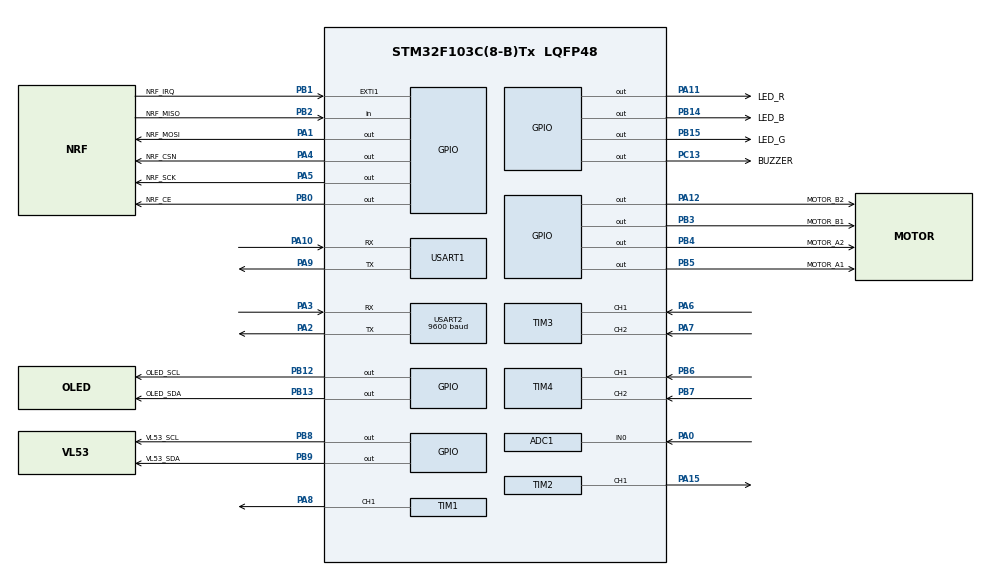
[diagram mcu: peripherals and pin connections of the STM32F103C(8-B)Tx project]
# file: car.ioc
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ADC1.Channel-0\#ChannelRegularConversion=ADC_CHANNEL_0
ADC1.NbrOfConversionFlag=1
ADC1.Rank-0\#ChannelRegularConversion=1
ADC1.SamplingTime-0\#ChannelRegularConversion=ADC_SAMPLETIME_1CYCLE_5
ADC1.master=1
Mcu.Family=STM32F1
Mcu.Name=STM32F103C(8-B)Tx
Mcu.Package=LQFP48
NVIC.EXTI1_IRQn=true\:0\:0\:false\:false\:true\:true\:true\:true
NVIC.PriorityGroup=NVIC_PRIORITYGROUP_4
NVIC.TIM1_UP_IRQn=true\:1\:0\:true\:false\:true\:true\:true\:true
NVIC.TIM3_IRQn=true\:0\:0\:false\:false\:true\:true\:true\:true
NVIC.TIM4_IRQn=true\:0\:0\:false\:false\:true\:true\:true\:true
NVIC.USART1_IRQn=true\:0\:0\:false\:false\:true\:true\:true\:true
NVIC.USART2_IRQn=true\:0\:0\:true\:false\:true\:true\:true\:true
PA0-WKUP.Signal=ADCx_IN0
PA1.GPIO_Label=NRF_MOSI
PA1.Signal=GPIO_Output
PA10.Mode=Asynchronous
PA10.Signal=USART1_RX
PA11.GPIO_Label=LED_R
PA11.Signal=GPIO_Output
PA12.GPIO_Label=MOTOR_B2
PA12.Signal=GPIO_Output
PA13.Mode=Serial_Wire
PA13.Signal=SYS_JTMS-SWDIO
PA14.Mode=Serial_Wire
PA14.Signal=SYS_JTCK-SWCLK
PA15.Signal=S_TIM2_CH1_ETR
PA2.Mode=Asynchronous
PA2.Signal=USART2_TX
PA3.Mode=Asynchronous
PA3.Signal=USART2_RX
PA4.GPIO_Label=NRF_CSN
PA4.Signal=GPIO_Output
PA5.GPIO_Label=NRF_SCK
PA5.Signal=GPIO_Output
PA6.Signal=S_TIM3_CH1
PA7.Signal=S_TIM3_CH2
PA8.Signal=S_TIM1_CH1
PA9.Mode=Asynchronous
PA9.Signal=USART1_TX
PB0.GPIO_Label=NRF_CE
PB0.Signal=GPIO_Output
PB1.GPIO_Label=NRF_IRQ
PB1.Signal=GPXTI1
PB12.GPIO_Label=OLED_SCL
PB12.Signal=GPIO_Output
PB13.GPIO_Label=OLED_SDA
PB13.Signal=GPIO_Output
PB14.GPIO_Label=LED_B
PB14.Signal=GPIO_Output
PB15.GPIO_Label=LED_G
PB15.Signal=GPIO_Output
PB2.GPIO_Label=NRF_MISO
PB2.GPIO_PuPd=GPIO_PULLUP
PB2.Signal=GPIO_Input
PB3.GPIO_Label=MOTOR_B1
PB3.Signal=GPIO_Output
PB4.GPIO_Label=MOTOR_A2
PB4.Signal=GPIO_Output
PB5.GPIO_Label=MOTOR_A1
PB5.Signal=GPIO_Output
PB6.Signal=S_TIM4_CH1
PB7.Signal=S_TIM4_CH2
PB8.GPIO_Label=VL53_SCL
PB8.GPIO_ModeDefaultOutputPP=GPIO_MODE_OUTPUT_OD
PB8.GPIO_PuPd=GPIO_PULLUP
PB8.Signal=GPIO_Output
PB9.GPIO_Label=VL53_SDA
PB9.GPIO_ModeDefaultOutputPP=GPIO_MODE_OUTPUT_OD
PB9.GPIO_PuPd=GPIO_PULLUP
PB9.Signal=GPIO_Output
PC13-TAMPER-RTC.GPIO_Label=BUZZER
PC13-TAMPER-RTC.Signal=GPIO_Output
PD0-OSC_IN.Mode=HSE-External-Oscillator
PD0-OSC_IN.Signal=RCC_OSC_IN
PD1-OSC_OUT.Mode=HSE-External-Oscillator
PD1-OSC_OUT.Signal=RCC_OSC_OUT
ProjectManager.HeapSize=0x200
ProjectManager.StackSize=0x400
ProjectManager.TargetToolchain=MDK-ARM V5.32
RCC.APB1Freq_Value=8000000
RCC.APB2Freq_Value=8000000
RCC.RTCClockSelection=RCC_RTCCLKSOURCE_LSE
SH.ADCx_IN0.0=ADC1_IN0,IN0
SH.S_TIM1_CH1.0=TIM1_CH1,PWM Generation1 CH1
SH.S_TIM2_CH1_ETR.0=TIM2_CH1,PWM Generation1 CH1
SH.S_TIM3_CH1.0=TIM3_CH1,Encoder_Interface
SH.S_TIM3_CH2.0=TIM3_CH2,Encoder_Interface
SH.S_TIM4_CH1.0=TIM4_CH1,Encoder_Interface
SH.S_TIM4_CH2.0=TIM4_CH2,Encoder_Interface
TIM1.Channel-PWM\ Generation1\ CH1=TIM_CHANNEL_1
TIM1.Period=1000
TIM1.Prescaler=8
TIM1.Pulse-PWM\ Generation1\ CH1=500
TIM2.Channel-PWM\ Generation1\ CH1=TIM_CHANNEL_1
TIM2.Period=1000
TIM2.Prescaler=8
TIM2.Pulse-PWM\ Generation1\ CH1=500
TIM3.EncoderMode=TIM_ENCODERMODE_TI12
TIM4.EncoderMode=TIM_ENCODERMODE_TI12
TIM4.IC1Polarity=TIM_ICPOLARITY_FALLING
TIM4.IC2Polarity=TIM_ICPOLARITY_RISING
USART1.VirtualMode=VM_ASYNC
USART2.BaudRate=9600
USART2.VirtualMode=VM_ASYNC
VP_TIM1_VS_ClockSourceINT.Mode=Internal
VP_TIM2_VS_ClockSourceINT.Mode=Internal
board=custom

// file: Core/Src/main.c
/* USER CODE BEGIN Header */
/**
 ******************************************************************************
 * @file           : main.c
 * @brief          : Main program body
 ******************************************************************************
 * @attention
 *
 * Copyright (c) 2026 STMicroelectronics.
 * All rights reserved.
 *
 * This software is licensed under terms that can be found in the LICENSE file
 * in the root directory of this software component.
 * If no LICENSE file comes with this software, it is provided AS-IS.
 *
 ******************************************************************************
 */
/* USER CODE END Header */
#include "main.h"
#include "adc.h"
#include "tim.h"
#include "usart.h"
#include "gpio.h"

/* USER CODE BEGIN Includes */
#include "system.h"
/* USER CODE END Includes */

void SystemClock_Config(void);

/* USER CODE BEGIN 0 */

uint32_t ms_cnt = 0;

/**
 * @brief 各个时间点的定时执行函数
 */
void time_1ms_function()
{
  buzzer_process();
}
void time_10ms_function()
{
  position_10ms_process();
}
void time_100ms_function()
{
}
void time_1s_function()
{
}
void HAL_TIM_PeriodElapsedCallback(TIM_HandleTypeDef *htim)
{
  if (htim->Instance == TIM1)
  {
    ms_cnt++;
    time_1ms_function();
    if (ms_cnt % 10 == 0)
    {
      time_10ms_function();
    }
    if (ms_cnt % 100 == 0)
    {
      time_100ms_function();
    }
    if (ms_cnt == 1000) // 最开始写成了“ ms_cnt = 1000 ”导致if一直被执行，ms_cnt一直被自动赋值为0
    {
      time_1s_function();
      ms_cnt = 0;
    }
  }
}

/**
 * @brief 串口中断函数
 */
void HAL_UART_RxCpltCallback(UART_HandleTypeDef *huart)
{
  if (huart == &huart2)
  {
    MPU_UART_Receive();
  }
  else if (huart == &huart1)
  {
    uart1_receivce();
  }
}

/**
 * @brief 各个时间点的定时执行函数
 * @param num 需要记录第几个函数的执行时间
 */
void caculate_tick(int num)
{
  static uint32_t last_time = 0;
  uint32_t current_time = HAL_GetTick();

  if (num == 0)
  {
    // 第一个任务：从循环开始到第一个任务结束的时间
    main_during_tick[0] = (int)(current_time - main_start_tick);
    if (main_during_tick[0] > main_during_tick_max[0])
    {
      main_during_tick_max[0] = main_during_tick[0];
    }
  }
  else
  {
    // 其他任务：从上个任务结束到当前任务结束的时间
    main_during_tick[num] = (int)(current_time - last_time);
    if (main_during_tick[num] > main_during_tick_max[num])
    {
      main_during_tick_max[num] = main_during_tick[num];
    }
  }

  // 保存当前时间，供下一个任务使用
  last_time = current_time;
}

/**
 * @brief nrf外部中断执行函数
 */
void HAL_GPIO_EXTI_Callback(uint16_t GPIO_Pin)
{
  nrf_receive_process_irq();
}

/* USER CODE END 0 */

int main(void)
{

  /* MCU Configuration--------------------------------------------------------*/

  /* Reset of all peripherals, Initializes the Flash interface and the Systick. */
  HAL_Init();

  /* Configure the system clock */
  SystemClock_Config();

  /* Initialize all configured peripherals */
  MX_GPIO_Init();
  MX_TIM1_Init();
  MX_TIM2_Init();
  MX_TIM3_Init();
  MX_TIM4_Init();
  MX_USART2_UART_Init();
  MX_ADC1_Init();
  MX_USART1_UART_Init();
  /* USER CODE BEGIN 2 */
  show_init();
  key_init();
  position_init();
  motor_init();
  NRF24L01_Init();
  buzzer_init();
  uart1_init();
  led_init();
  VL53L1_init_all();
  Tracker_Init(&tracker, car_track, current_track_length, 0.1f, 0.8f);

  control_mode = NRF_CTRL;

  /* USER CODE END 2 */

  /* Infinite loop */
  /* USER CODE BEGIN WHILE */
  while (1)
  {
    main_start_tick = HAL_GetTick();

    key_read(), caculate_tick(0);
    key_process(), caculate_tick(1);
    oled_process(), caculate_tick(2);
    oled_display(), caculate_tick(3);
    nrf_receive_process_main(), caculate_tick(4);
    led_process(), caculate_tick(5);
    uart1_process(), caculate_tick(6);
    position_main_process(), caculate_tick(7);
    drive(), caculate_tick(8);
    Update_Map(), caculate_tick(9);

    main_all_tick = HAL_GetTick() - main_start_tick;
    if (main_all_tick > main_all_tick_max)
    {
      main_all_tick_max = main_all_tick;
    }

    /* USER CODE END WHILE */

  }
}

void SystemClock_Config(void)
{
  RCC_OscInitTypeDef RCC_OscInitStruct = {0};
  RCC_ClkInitTypeDef RCC_ClkInitStruct = {0};
  RCC_PeriphCLKInitTypeDef PeriphClkInit = {0};

  /** Initializes the RCC Oscillators according to the specified parameters
  * in the RCC_OscInitTypeDef structure.
  */
  RCC_OscInitStruct.OscillatorType = RCC_OSCILLATORTYPE_HSI;
  RCC_OscInitStruct.HSIState = RCC_HSI_ON;
  RCC_OscInitStruct.HSICalibrationValue = RCC_HSICALIBRATION_DEFAULT;
  RCC_OscInitStruct.PLL.PLLState = RCC_PLL_NONE;
  if (HAL_RCC_OscConfig(&RCC_OscInitStruct) != HAL_OK)
  {
    Error_Handler();
  }

  /** Initializes the CPU, AHB and APB buses clocks
  */
  RCC_ClkInitStruct.ClockType = RCC_CLOCKTYPE_HCLK|RCC_CLOCKTYPE_SYSCLK
                              |RCC_CLOCKTYPE_PCLK1|RCC_CLOCKTYPE_PCLK2;
  RCC_ClkInitStruct.SYSCLKSource = RCC_SYSCLKSOURCE_HSI;
  RCC_ClkInitStruct.AHBCLKDivider = RCC_SYSCLK_DIV1;
  RCC_ClkInitStruct.APB1CLKDivider = RCC_HCLK_DIV1;
  RCC_ClkInitStruct.APB2CLKDivider = RCC_HCLK_DIV1;

  if (HAL_RCC_ClockConfig(&RCC_ClkInitStruct, FLASH_LATENCY_0) != HAL_OK)
  {
    Error_Handler();
  }
  PeriphClkInit.PeriphClockSelection = RCC_PERIPHCLK_ADC;
  PeriphClkInit.AdcClockSelection = RCC_ADCPCLK2_DIV2;
  if (HAL_RCCEx_PeriphCLKConfig(&PeriphClkInit) != HAL_OK)
  {
    Error_Handler();
  }
}

void Error_Handler(void)
{
  __disable_irq();
  while (1)
  {
  }
}
